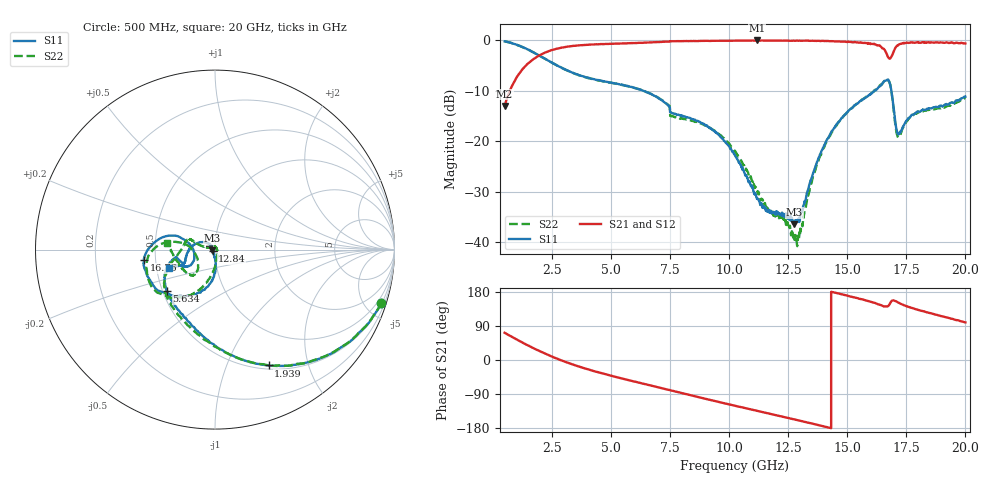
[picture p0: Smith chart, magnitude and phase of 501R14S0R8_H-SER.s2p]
!{501R14S0R8}
!Johanson Technology Inc.
!www.johansontechnology.com
!Test Board Conditions:
!Substrate Type  RO4350B
!Substrate Thickness  20 mil
!Substrate Dk  3.66
!TL Type: GCPW
!TL Trace Width  36 mil
!TL Gap  12 mil
!Electrode orientation  Horizontal
!DUT TOPOLOGY	SERIES
!Mounting Pad LxW  26x36 mil
! Created Mon Mar 16 16:45:18 2020
# mhz S ma R 50
! 2 Port Network Data from SP1.SP block
! freq  magS11  angS11  magS21  angS21  magS12  angS12  magS22  angS22
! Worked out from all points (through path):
!   19501 points, 500 MHz to 20 GHz, reference 50 ohm
!   highest |S21| = -0.06 dB at 11.18 GHz (marker M1); lowest = -13.0 dB at 500 MHz (marker M2)
!   lowest |S11| = -36.4 dB at 12.76 GHz (marker M3), VSWR 1.03, Z = 48.6 - j0.442 ohm
!   |S11| at or under -10 dB: 6.358 GHz to 16.16 GHz (9.799 GHz wide, 87 % of centre); 16.87 GHz to end of sweep
!   |S22| runs from -40.8 to -0.2 dB; largest |S21 - S12| = 0.015
!   S11 on the Smith chart (normalised r, x): 500 MHz: 0.55, -6.29; 1.939 GHz: 0.54, -1.42; 5.634 GHz: 0.53, -0.28; 12.84 GHz: 0.97, -0.01; 16.76 GHz: 0.43, -0.06; 20 GHz: 0.58, -0.13
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500  0.9736 -17.9  0.2229 71.9  0.2228 71.8  0.9736 -17.9
1225  0.8617 -42.8  0.5058 47.0  0.504 47.0  0.8607 -42.9
1939  0.7111 -65.2  0.7012 24.8  0.7004 24.7  0.712 -65.0
2769  0.5546 -87.2  0.8274 2.4  0.8299 2.3  0.5526 -87.6
3750  0.4438 -106.5  0.8923 -19.3  0.8933 -19.4  0.442 -111.3
5634  0.3544 -139.0  0.9285 -51.3  0.93 -51.4  0.3536 -142.7
7000  0.2673 -162.8  0.9565 -72.1  0.957 -72.1  0.2695 -160.3
8170  0.1736 -161.2  0.9777 -90.0  0.9777 -90.0  0.1652 161.0
10250  0.07226 145.5  0.9888 -120.7  0.9886 -120.8  0.0802 164.3
11184  0.02689 134.4  0.9936 -134.2  0.9919 -134.2  0.03203 159.2
12760  0.01513 -162.5  0.9842 -156.8  0.9875 -156.8  0.01064 39.8
12837  0.01549 -153.0  0.9889 -157.9  0.9884 -157.9  0.01069 22.9
13500  0.04373 -92.8  0.9864 -167.6  0.9871 -167.7  0.03948 -72.0
14674  0.1587 -93.5  0.9707 174.8  0.9726 174.8  0.1586 -100.1
16326  0.3434 -130.6  0.8878 146.8  0.8892 146.7  0.3455 -128.7
16750  0.4021 -170.7  0.6674 143.3  0.6727 143.5  0.396 -165.2
16757  0.4006 -171.9  0.6652 143.8  0.6688 144.0  0.3927 -166.3
16928  0.2483 161.6  0.7341 157.3  0.7345 157.1  0.2442 169.8
17178  0.1172 -169.1  0.9026 151.0  0.9041 150.9  0.1093 -154.1
17654  0.1731 -148.0  0.9444 138.9  0.9463 138.7  0.172 -128.4
18380  0.2095 -155.2  0.948 125.7  0.9525 125.7  0.2033 -138.7
20000  0.2751 -158.0  0.9279 99.2  0.9311 99.3  0.2692 171.6
